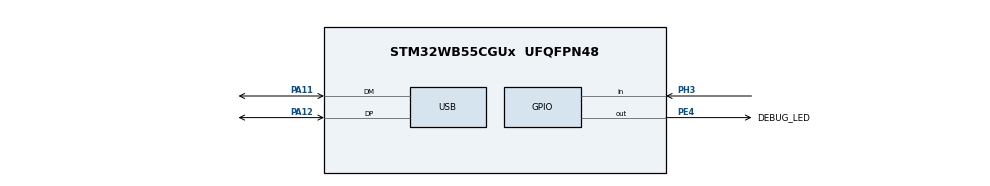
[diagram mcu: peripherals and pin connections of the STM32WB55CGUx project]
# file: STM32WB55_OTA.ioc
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Mcu.Family=STM32WB
Mcu.Name=STM32WB55CGUx
Mcu.Package=UFQFPN48
NVIC.HSEM_IRQn=true\:0\:0\:false\:false\:true\:false\:true\:true
NVIC.IPCC_C1_RX_IRQn=true\:0\:0\:false\:false\:true\:true\:true\:true
NVIC.IPCC_C1_TX_IRQn=true\:0\:0\:false\:false\:true\:true\:true\:true
NVIC.PriorityGroup=NVIC_PRIORITYGROUP_4
NVIC.RTC_WKUP_IRQn=true\:0\:0\:false\:false\:true\:true\:true\:true
NVIC.TIM2_IRQn=true\:0\:0\:false\:false\:true\:true\:true\:true
NVIC.USB_LP_IRQn=true\:0\:0\:false\:false\:true\:false\:true\:true
OSC_IN.Mode=HSE-External-Oscillator
OSC_IN.Signal=RCC_OSC_IN
OSC_OUT.Mode=HSE-External-Oscillator
OSC_OUT.Signal=RCC_OSC_OUT
PA11.Mode=Device
PA11.Signal=USB_DM
PA12.Mode=Device
PA12.Signal=USB_DP
PE4.GPIO_Label=DEBUG_LED
PE4.Signal=GPIO_Output
PH3-BOOT0.Signal=GPIO_Input
ProjectManager.HeapSize=0x200
ProjectManager.StackSize=0x400
ProjectManager.TargetToolchain=CMake
RCC.ADCFreq_Value=48000000
RCC.AHB2CLKDivider=RCC_SYSCLK_DIV2
RCC.AHBFreq_Value=64000000
RCC.APB1Freq_Value=64000000
RCC.APB1TimFreq_Value=64000000
RCC.APB2Freq_Value=64000000
RCC.APB2TimFreq_Value=64000000
RCC.APB3Freq_Value=16000000
RCC.CortexFreq_Value=64000000
RCC.HCLKFreq_Value=64000000
RCC.HSE_VALUE=32000000
RCC.HSI48_VALUE=48000000
RCC.HSI_VALUE=16000000
RCC.LSE_VALUE=32768
RCC.PLLN=32
RCC.PLLSAI1N=24
RCC.SYSCLKFreq_VALUE=64000000
RCC.SYSCLKSource=RCC_SYSCLKSOURCE_PLLCLK
RCC.USBFreq_Value=48000000
RCC.VCOOutputFreq_Value=128000000
RF1.Mode=RF1_Activate
RF1.Signal=RF_RF1
STM32_WPAN.AD_TYPE_COMPLETE_LOCAL_NAME=STM32WB55
STM32_WPAN.AD_TYPE_COMPLETE_LOCAL_NAME_LENGTH=10
STM32_WPAN.AD_TYPE_MANUFACTURER_DATA_1=4D
STM32_WPAN.AD_TYPE_MANUFACTURER_DATA_2=58
STM32_WPAN.AD_TYPE_MANUFACTURER_DATA_3=01
STM32_WPAN.AD_TYPE_MANUFACTURER_DATA_NBR=3
STM32_WPAN.AD_TYPE_MANUFACTURER_SPECIFIC_DATA_COMPANY_IDENTIFIER=23,23
STM32_WPAN.CFG_GAP_DEVICE_NAME=OTA_BOOTLOADER
STM32_WPAN.CFG_GAP_DEVICE_NAME_LENGTH=14
STM32_WPAN.CUSTOM_P2P_SERVER=Disabled
STM32_WPAN.CUSTOM_TEMPLATE=Enabled
STM32_WPAN.INCLUDE_AD_TYPE_COMPLETE_LOCAL_NAME=1
STM32_WPAN.INCLUDE_AD_TYPE_MANUFACTURER_SPECIFIC_DATA=1
STM32_WPAN.NUMBER_OF_SERVICES=2
STM32_WPAN.SERVICE1_CHAR1_ATTR_PERMISSION_ENCRY_READ=\ 
STM32_WPAN.SERVICE1_CHAR1_GATT_NOTIFY_ATTRIBUTE_WRITE=\ 
STM32_WPAN.SERVICE1_CHAR1_GATT_NOTIFY_WRITE_REQ_AND_WAIT_FOR_APPL_RESP=\ 
STM32_WPAN.SERVICE1_CHAR1_LONG_NAME=BootloaderFwVersion
STM32_WPAN.SERVICE1_CHAR1_PROP_READ=CHAR_PROP_READ
STM32_WPAN.SERVICE1_CHAR1_SHORT_NAME=Bootloader_Fw_Ver
STM32_WPAN.SERVICE1_CHAR1_UUID=2A 25
STM32_WPAN.SERVICE1_CHAR1_VALUE_LENGTH=16
STM32_WPAN.SERVICE1_CHAR2_GATT_NOTIFY_ATTRIBUTE_WRITE=\ 
STM32_WPAN.SERVICE1_CHAR2_GATT_NOTIFY_WRITE_REQ_AND_WAIT_FOR_APPL_RESP=\ 
STM32_WPAN.SERVICE1_CHAR2_LONG_NAME=Wireless_FW_INFO
STM32_WPAN.SERVICE1_CHAR2_PROP_READ=CHAR_PROP_READ
STM32_WPAN.SERVICE1_CHAR2_SHORT_NAME=Wireless_FW_Ver
STM32_WPAN.SERVICE1_CHAR2_UUID=2A 28
STM32_WPAN.SERVICE1_CHAR2_VALUE_LENGTH=16
STM32_WPAN.SERVICE1_CHAR3_GATT_NOTIFY_ATTRIBUTE_WRITE=\ 
STM32_WPAN.SERVICE1_CHAR3_GATT_NOTIFY_WRITE_REQ_AND_WAIT_FOR_APPL_RESP=\ 
STM32_WPAN.SERVICE1_CHAR3_LONG_NAME=DeviceSerialNum
STM32_WPAN.SERVICE1_CHAR3_PROP_READ=CHAR_PROP_READ
STM32_WPAN.SERVICE1_CHAR3_SHORT_NAME=Device_SN
STM32_WPAN.SERVICE1_CHAR3_VALUE_LENGTH=16
STM32_WPAN.SERVICE1_CHAR4_GATT_NOTIFY_ATTRIBUTE_WRITE=\ 
STM32_WPAN.SERVICE1_CHAR4_GATT_NOTIFY_WRITE_REQ_AND_WAIT_FOR_APPL_RESP=\ 
STM32_WPAN.SERVICE1_CHAR4_LONG_NAME=HW_Revision
STM32_WPAN.SERVICE1_CHAR4_PROP_READ=CHAR_PROP_READ
STM32_WPAN.SERVICE1_CHAR4_SHORT_NAME=HW_Rev
STM32_WPAN.SERVICE1_CHAR4_VALUE_LENGTH=8
STM32_WPAN.SERVICE1_LONG_NAME=SysInfo
STM32_WPAN.SERVICE1_NUMBER_OF_CHARACTERISTICS=4
STM32_WPAN.SERVICE1_SHORT_NAME=SystemInformation
STM32_WPAN.SERVICE1_UUID=18 02
STM32_WPAN.SERVICE2_CHAR1_GATT_NOTIFY_ATTRIBUTE_WRITE=GATT_NOTIFY_ATTRIBUTE_WRITE
STM32_WPAN.SERVICE2_CHAR1_GATT_NOTIFY_NOTIFICATION_COMPLETION=\ 
STM32_WPAN.SERVICE2_CHAR1_GATT_NOTIFY_READ_REQ_AND_WAIT_FOR_APPL_RESP=\ 
STM32_WPAN.SERVICE2_CHAR1_GATT_NOTIFY_WRITE_REQ_AND_WAIT_FOR_APPL_RESP=\ 
STM32_WPAN.SERVICE2_CHAR1_LENGTH_CHARACTERISTIC=CHAR_VALUE_LEN_VARIABLE
STM32_WPAN.SERVICE2_CHAR1_LONG_NAME=Comand
STM32_WPAN.SERVICE2_CHAR1_PROP_NOTIFY=CHAR_PROP_NOTIFY
STM32_WPAN.SERVICE2_CHAR1_PROP_WRITE=CHAR_PROP_WRITE
STM32_WPAN.SERVICE2_CHAR1_SHORT_NAME=CMD
STM32_WPAN.SERVICE2_CHAR1_UUID=AC 01
STM32_WPAN.SERVICE2_CHAR1_VALUE_LENGTH=24
STM32_WPAN.SERVICE2_CHAR2_GATT_NOTIFY_ATTRIBUTE_WRITE=GATT_NOTIFY_ATTRIBUTE_WRITE
STM32_WPAN.SERVICE2_CHAR2_GATT_NOTIFY_NOTIFICATION_COMPLETION=\ 
STM32_WPAN.SERVICE2_CHAR2_GATT_NOTIFY_READ_REQ_AND_WAIT_FOR_APPL_RESP=\ 
STM32_WPAN.SERVICE2_CHAR2_GATT_NOTIFY_WRITE_REQ_AND_WAIT_FOR_APPL_RESP=\ 
STM32_WPAN.SERVICE2_CHAR2_LENGTH_CHARACTERISTIC=CHAR_VALUE_LEN_VARIABLE
STM32_WPAN.SERVICE2_CHAR2_LONG_NAME=Update_Data
STM32_WPAN.SERVICE2_CHAR2_PROP_WRITE_WITHOUT_RESP=CHAR_PROP_WRITE_WITHOUT_RESP
STM32_WPAN.SERVICE2_CHAR2_SHORT_NAME=Data
STM32_WPAN.SERVICE2_CHAR2_UUID=AC 02
STM32_WPAN.SERVICE2_CHAR2_VALUE_LENGTH=136
STM32_WPAN.SERVICE2_CHAR3_GATT_NOTIFY_NOTIFICATION_COMPLETION=GATT_NOTIFY_NOTIFICATION_COMPLETION
STM32_WPAN.SERVICE2_CHAR3_GATT_NOTIFY_READ_REQ_AND_WAIT_FOR_APPL_RESP=\ 
STM32_WPAN.SERVICE2_CHAR3_GATT_NOTIFY_WRITE_REQ_AND_WAIT_FOR_APPL_RESP=\ 
STM32_WPAN.SERVICE2_CHAR3_LONG_NAME=Update_Status
STM32_WPAN.SERVICE2_CHAR3_PROP_NOTIFY=CHAR_PROP_NOTIFY
STM32_WPAN.SERVICE2_CHAR3_SHORT_NAME=Status
STM32_WPAN.SERVICE2_CHAR3_UUID=AC 03
STM32_WPAN.SERVICE2_CHAR3_VALUE_LENGTH=4
STM32_WPAN.SERVICE2_LONG_NAME=FirmwareTransfer
STM32_WPAN.SERVICE2_NUMBER_OF_CHARACTERISTICS=3
STM32_WPAN.SERVICE2_SHORT_NAME=FW_Transfer
STM32_WPAN.SERVICE2_UUID=A0 01
TIM2.Period=1000-1
TIM2.Prescaler=64
USB_DEVICE.CLASS_NAME_FS=CDC
USB_DEVICE.VirtualMode=Cdc
USB_DEVICE.VirtualModeFS=Cdc_FS
VP_HSEM_VS_HSEM.Mode=HSEM_Activate
VP_IPCC_VS_IPCC.Mode=IPCC_Activate
VP_MEMORYMAP_VS_MEMORYMAP.Mode=CurAppReg
VP_RTC_VS_RTC_Activate.Mode=RTC_Enabled
VP_RTC_VS_RTC_WakeUp_intern.Mode=WakeUp
VP_SEQUENCER_VS_SEQUENCER.Mode=SEQUENCER_Enabled
VP_STM32_WPAN_VS_BLE_HOST.Mode=STM32_WPAN_Enabled
VP_TIM2_VS_ClockSourceINT.Mode=Internal
VP_TINY_LPM_VS_TINY_LPM.Mode=TINY_LPM_Enabled
VP_USB_DEVICE_VS_USB_DEVICE_CDC_FS.Mode=CDC_FS
board=custom

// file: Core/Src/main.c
/* USER CODE BEGIN Header */
/**
  ******************************************************************************
  * @file           : main.c
  * @brief          : Main program body
  ******************************************************************************
  * @attention
  *
  * Copyright (c) 2026 STMicroelectronics.
  * All rights reserved.
  *
  * This software is licensed under terms that can be found in the LICENSE file
  * in the root directory of this software component.
  * If no LICENSE file comes with this software, it is provided AS-IS.
  *
  ******************************************************************************
  */
/* USER CODE END Header */
#include "main.h"
#include "ipcc.h"
#include "rf.h"
#include "rtc.h"
#include "tim.h"
#include "usb_device.h"
#include "gpio.h"

/* USER CODE BEGIN Includes */
#include "App.h"
#include "Config.h"
#include "usbd_cdc_if.h"
#include "Logger.h"
/* USER CODE END Includes */

/* USER CODE BEGIN PV */
typedef enum
{
  BOOT_DFU_NOT_REQUESTED = 0,
  BOOT_DFU_REQUESTED
} dfuRequestStates_e;

typedef struct
{
 uint16_t bootTimeout;
 uint8_t dfuReuested;
} bootMode_t;

bootMode_t bootMode = { .bootTimeout = BOOT_REQUEST_TIMEOUT_MS, .dfuReuested = BOOT_DFU_NOT_REQUESTED };

/* USER CODE END PV */

void SystemClock_Config(void);
void PeriphCommonClock_Config(void);

int main(void)
{

  /* MCU Configuration--------------------------------------------------------*/

  /* Reset of all peripherals, Initializes the Flash interface and the Systick. */
  HAL_Init();
  /* Config code for STM32_WPAN (HSE Tuning must be done before system clock configuration) */
  MX_APPE_Config();

  /* Configure the system clock */
  SystemClock_Config();

  /* Configure the peripherals common clocks */
  PeriphCommonClock_Config();

  /* IPCC initialisation */
  MX_IPCC_Init();

  /* Initialize all configured peripherals */
  MX_GPIO_Init();
  MX_RTC_Init();
  MX_USB_Device_Init();
  MX_TIM2_Init();
  MX_RF_Init();
  /* USER CODE BEGIN 2 */
  while (bootMode.bootTimeout > 0)
  {
    if (HAL_GPIO_ReadPin(GPIOH, GPIO_PIN_3) == GPIO_PIN_SET)
    {
      bootMode.dfuReuested = BOOT_DFU_REQUESTED;
      break;
    }
  }

  App_Init();
  HAL_GPIO_WritePin(DEBUG_LED_GPIO_Port, DEBUG_LED_Pin, GPIO_PIN_SET);
  /* USER CODE END 2 */

  while(LL_HSEM_1StepLock(HSEM, CFG_HW_CLK48_CONFIG_SEMID));

  /* Init code for STM32_WPAN */
  MX_APPE_Init();

  /* Infinite loop */
  /* USER CODE BEGIN WHILE */
  //App_JumpToApplication();
  while (1)
  {
    /* USER CODE END WHILE */
    MX_APPE_Process();

    /* USER CODE BEGIN 3 */
     App_Run();
  }
  /* USER CODE END 3 */
}

void SystemClock_Config(void)
{
  RCC_OscInitTypeDef RCC_OscInitStruct = {0};
  RCC_ClkInitTypeDef RCC_ClkInitStruct = {0};

  /** Configure the main internal regulator output voltage
  */
  __HAL_PWR_VOLTAGESCALING_CONFIG(PWR_REGULATOR_VOLTAGE_SCALE1);

  /** Initializes the RCC Oscillators according to the specified parameters
  * in the RCC_OscInitTypeDef structure.
  */
  RCC_OscInitStruct.OscillatorType = RCC_OSCILLATORTYPE_HSI|RCC_OSCILLATORTYPE_LSI1
                              |RCC_OSCILLATORTYPE_HSE|RCC_OSCILLATORTYPE_LSE
                              |RCC_OSCILLATORTYPE_MSI;
  RCC_OscInitStruct.HSEState = RCC_HSE_ON;
  RCC_OscInitStruct.LSEState = RCC_LSE_OFF;
  RCC_OscInitStruct.HSIState = RCC_HSI_ON;
  RCC_OscInitStruct.MSIState = RCC_MSI_ON;
  RCC_OscInitStruct.HSICalibrationValue = RCC_HSICALIBRATION_DEFAULT;
  RCC_OscInitStruct.MSICalibrationValue = RCC_MSICALIBRATION_DEFAULT;
  RCC_OscInitStruct.MSIClockRange = RCC_MSIRANGE_6;
  RCC_OscInitStruct.LSIState = RCC_LSI_ON;
  RCC_OscInitStruct.PLL.PLLState = RCC_PLL_ON;
  RCC_OscInitStruct.PLL.PLLSource = RCC_PLLSOURCE_MSI;
  RCC_OscInitStruct.PLL.PLLM = RCC_PLLM_DIV1;
  RCC_OscInitStruct.PLL.PLLN = 32;
  RCC_OscInitStruct.PLL.PLLP = RCC_PLLP_DIV2;
  RCC_OscInitStruct.PLL.PLLR = RCC_PLLR_DIV2;
  RCC_OscInitStruct.PLL.PLLQ = RCC_PLLQ_DIV2;
  if (HAL_RCC_OscConfig(&RCC_OscInitStruct) != HAL_OK)
  {
    Error_Handler();
  }

  /** Configure the SYSCLKSource, HCLK, PCLK1 and PCLK2 clocks dividers
  */
  RCC_ClkInitStruct.ClockType = RCC_CLOCKTYPE_HCLK4|RCC_CLOCKTYPE_HCLK2
                              |RCC_CLOCKTYPE_HCLK|RCC_CLOCKTYPE_SYSCLK
                              |RCC_CLOCKTYPE_PCLK1|RCC_CLOCKTYPE_PCLK2;
  RCC_ClkInitStruct.SYSCLKSource = RCC_SYSCLKSOURCE_PLLCLK;
  RCC_ClkInitStruct.AHBCLKDivider = RCC_SYSCLK_DIV1;
  RCC_ClkInitStruct.APB1CLKDivider = RCC_HCLK_DIV1;
  RCC_ClkInitStruct.APB2CLKDivider = RCC_HCLK_DIV1;
  RCC_ClkInitStruct.AHBCLK2Divider = RCC_SYSCLK_DIV2;
  RCC_ClkInitStruct.AHBCLK4Divider = RCC_SYSCLK_DIV1;

  if (HAL_RCC_ClockConfig(&RCC_ClkInitStruct, FLASH_LATENCY_3) != HAL_OK)
  {
    Error_Handler();
  }

  /** Enable MSI Auto calibration
  */
  HAL_RCCEx_EnableMSIPLLMode();
}

void PeriphCommonClock_Config(void)
{
  RCC_PeriphCLKInitTypeDef PeriphClkInitStruct = {0};

  /** Initializes the peripherals clock
  */
  PeriphClkInitStruct.PeriphClockSelection = RCC_PERIPHCLK_SMPS|RCC_PERIPHCLK_RFWAKEUP;
  PeriphClkInitStruct.RFWakeUpClockSelection = RCC_RFWKPCLKSOURCE_HSE_DIV1024;
  PeriphClkInitStruct.SmpsClockSelection = RCC_SMPSCLKSOURCE_HSI;
  PeriphClkInitStruct.SmpsDivSelection = RCC_SMPSCLKDIV_RANGE1;

  if (HAL_RCCEx_PeriphCLKConfig(&PeriphClkInitStruct) != HAL_OK)
  {
    Error_Handler();
  }
}

/* USER CODE BEGIN 4 */
void Bootloader_HandleBootTimeout(void)
{
  if (--bootMode.bootTimeout == 0 &&  bootMode.dfuReuested == 0)
  {
    App_JumpToApplication();
  }
}
/* USER CODE END 4 */

void Error_Handler(void)
{
  __disable_irq();
  while (1)
  {
  }
}
